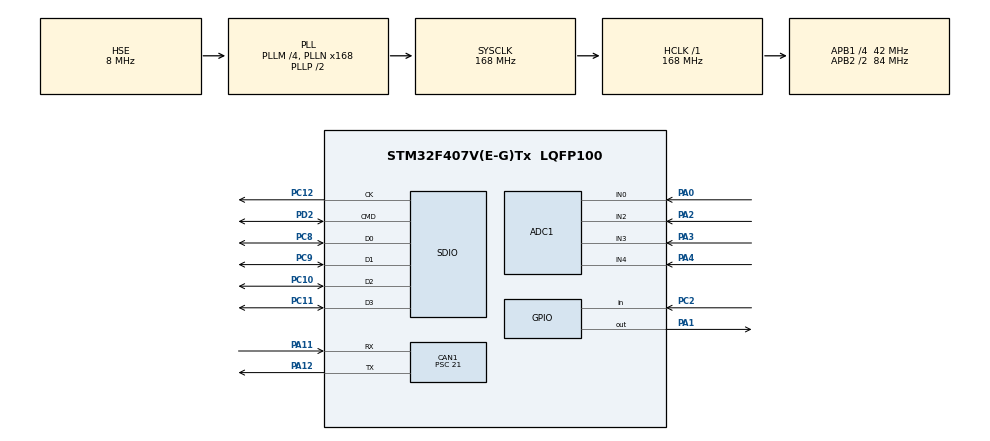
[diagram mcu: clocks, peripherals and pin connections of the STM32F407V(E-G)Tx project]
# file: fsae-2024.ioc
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ADC1.Channel-0\#ChannelRegularConversion=ADC_CHANNEL_0
ADC1.Channel-1\#ChannelRegularConversion=ADC_CHANNEL_2
ADC1.Channel-2\#ChannelRegularConversion=ADC_CHANNEL_3
ADC1.Channel-3\#ChannelRegularConversion=ADC_CHANNEL_4
ADC1.ContinuousConvMode=ENABLE
ADC1.DMAContinuousRequests=ENABLE
ADC1.NbrOfConversion=4
ADC1.NbrOfConversionFlag=1
ADC1.Rank-0\#ChannelRegularConversion=1
ADC1.Rank-1\#ChannelRegularConversion=2
ADC1.Rank-2\#ChannelRegularConversion=3
ADC1.Rank-3\#ChannelRegularConversion=4
ADC1.SamplingTime-0\#ChannelRegularConversion=ADC_SAMPLETIME_480CYCLES
ADC1.SamplingTime-1\#ChannelRegularConversion=ADC_SAMPLETIME_480CYCLES
ADC1.SamplingTime-2\#ChannelRegularConversion=ADC_SAMPLETIME_480CYCLES
ADC1.SamplingTime-3\#ChannelRegularConversion=ADC_SAMPLETIME_480CYCLES
ADC1.ScanConvMode=ENABLE
ADC1.master=1
CAN1.BS1=CAN_BS1_2TQ
CAN1.CalculateBaudRate=500000
CAN1.CalculateTimeBit=2000
CAN1.CalculateTimeQuantum=500.0
CAN1.Prescaler=21
Dma.ADC1.0.Direction=DMA_PERIPH_TO_MEMORY
Dma.ADC1.0.FIFOMode=DMA_FIFOMODE_DISABLE
Dma.ADC1.0.Instance=DMA2_Stream0
Dma.ADC1.0.MemDataAlignment=DMA_MDATAALIGN_HALFWORD
Dma.ADC1.0.MemInc=DMA_MINC_ENABLE
Dma.ADC1.0.Mode=DMA_CIRCULAR
Dma.ADC1.0.PeriphDataAlignment=DMA_PDATAALIGN_HALFWORD
Dma.ADC1.0.PeriphInc=DMA_PINC_DISABLE
Dma.ADC1.0.Priority=DMA_PRIORITY_LOW
Dma.Request0=ADC1
FATFS.BSP.number=1
FATFS0.BSP.STBoard=false
FATFS0.BSP.api=Unknown
FATFS0.BSP.instance=PC2
FATFS0.BSP.ip=GPIO
FATFS0.BSP.mode=Input
FATFS0.BSP.name=Detect_SDIO
FATFS0.BSP.solution=PC2
FREERTOS.Tasks01=defaultTask,24,128,StartDefaultTask,Default,NULL,Dynamic,NULL,NULL
FREERTOS.configENABLE_FPU=1
FREERTOS.configUSE_NEWLIB_REENTRANT=1
Mcu.Family=STM32F4
Mcu.Name=STM32F407V(E-G)Tx
Mcu.Package=LQFP100
NVIC.CAN1_RX0_IRQn=true\:5\:0\:false\:false\:true\:true\:true\:true\:true
NVIC.DMA2_Stream0_IRQn=true\:5\:0\:false\:false\:true\:true\:false\:true\:true
NVIC.PriorityGroup=NVIC_PRIORITYGROUP_4
NVIC.TIM1_UP_TIM10_IRQn=true\:15\:0\:false\:false\:true\:false\:false\:true\:true
NVIC.TimeBase=TIM1_UP_TIM10_IRQn
NVIC.TimeBaseIP=TIM1
PA0-WKUP.Signal=ADCx_IN0
PA1.PinState=GPIO_PIN_SET
PA1.Signal=GPIO_Output
PA11.Mode=CAN_Activate
PA11.Signal=CAN1_RX
PA12.Mode=CAN_Activate
PA12.Signal=CAN1_TX
PA13.Mode=Serial_Wire
PA13.Signal=SYS_JTMS-SWDIO
PA14.Mode=Serial_Wire
PA14.Signal=SYS_JTCK-SWCLK
PA2.Signal=ADCx_IN2
PA3.Signal=ADCx_IN3
PA4.Signal=ADCx_IN4
PC10.Mode=SD_4_bits_Wide_bus
PC10.Signal=SDIO_D2
PC11.Mode=SD_4_bits_Wide_bus
PC11.Signal=SDIO_D3
PC12.Mode=SD_4_bits_Wide_bus
PC12.Signal=SDIO_CK
PC14-OSC32_IN.Mode=LSE-External-Oscillator
PC14-OSC32_IN.Signal=RCC_OSC32_IN
PC15-OSC32_OUT.Mode=LSE-External-Oscillator
PC15-OSC32_OUT.Signal=RCC_OSC32_OUT
PC2.GPIO_PuPd=GPIO_PULLDOWN
PC2.Signal=GPIO_Input
PC8.Mode=SD_4_bits_Wide_bus
PC8.Signal=SDIO_D0
PC9.Mode=SD_4_bits_Wide_bus
PC9.Signal=SDIO_D1
PD2.Mode=SD_4_bits_Wide_bus
PD2.Signal=SDIO_CMD
PH0-OSC_IN.Mode=HSE-External-Oscillator
PH0-OSC_IN.Signal=RCC_OSC_IN
PH1-OSC_OUT.Mode=HSE-External-Oscillator
PH1-OSC_OUT.Signal=RCC_OSC_OUT
ProjectManager.HeapSize=0x2000
ProjectManager.StackSize=0x4000
ProjectManager.TargetToolchain=STM32CubeIDE
RCC.48MHZClocksFreq_Value=48000000
RCC.AHBFreq_Value=168000000
RCC.APB1CLKDivider=RCC_HCLK_DIV4
RCC.APB1Freq_Value=42000000
RCC.APB1TimFreq_Value=84000000
RCC.APB2CLKDivider=RCC_HCLK_DIV2
RCC.APB2Freq_Value=84000000
RCC.APB2TimFreq_Value=168000000
RCC.CortexFreq_Value=168000000
RCC.HCLKFreq_Value=168000000
RCC.HSE_VALUE=8000000
RCC.HSI_VALUE=16000000
RCC.PLLM=4
RCC.PLLN=168
RCC.PLLQ=7
RCC.PLLSourceVirtual=RCC_PLLSOURCE_HSE
RCC.SYSCLKFreq_VALUE=168000000
RCC.SYSCLKSource=RCC_SYSCLKSOURCE_PLLCLK
RCC.VCOOutputFreq_Value=336000000
SH.ADCx_IN0.0=ADC1_IN0,IN0
SH.ADCx_IN2.0=ADC1_IN2,IN2
SH.ADCx_IN3.0=ADC1_IN3,IN3
SH.ADCx_IN4.0=ADC1_IN4,IN4
VP_FATFS_VS_SDIO.Mode=SDIO
VP_FREERTOS_VS_CMSIS_V2.Mode=CMSIS_V2
VP_SYS_VS_tim1.Mode=TIM1
board=custom

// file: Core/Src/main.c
/* USER CODE BEGIN Header */
/**
  ******************************************************************************
  * @file           : main.c
  * @brief          : Main program body
  ******************************************************************************
  * @attention
  *
  * Copyright (c) 2023 STMicroelectronics.
  * All rights reserved.
  *
  * This software is licensed under terms that can be found in the LICENSE file
  * in the root directory of this software component.
  * If no LICENSE file comes with this software, it is provided AS-IS.
  *
  ******************************************************************************
  */
/* USER CODE END Header */
#include "main.h"
#include "cmsis_os.h"
#include "fatfs.h"

/* USER CODE BEGIN Includes */
#include "SEGGER_RTT.h"
/* USER CODE END Includes */

ADC_HandleTypeDef hadc1;
DMA_HandleTypeDef hdma_adc1;

CAN_HandleTypeDef hcan1;

SD_HandleTypeDef hsd;

/* Definitions for defaultTask */
osThreadId_t defaultTaskHandle;
const osThreadAttr_t defaultTask_attributes = {
  .name = "defaultTask",
  .stack_size = 128 * 4,
  .priority = (osPriority_t) osPriorityNormal,
};

void SystemClock_Config(void);
static void MX_GPIO_Init(void);
static void MX_DMA_Init(void);
static void MX_SDIO_SD_Init(void);
static void MX_ADC1_Init(void);
static void MX_CAN1_Init(void);
void StartDefaultTask(void *argument);

/* USER CODE BEGIN 0 */
uint16_t adc_buffer[4];
/* USER CODE END 0 */

int main(void)
{

  /* MCU Configuration--------------------------------------------------------*/

  /* Reset of all peripherals, Initializes the Flash interface and the Systick. */
  HAL_Init();

  /* Configure the system clock */
  SystemClock_Config();

  /* Initialize all configured peripherals */
  MX_GPIO_Init();
  MX_DMA_Init();
  MX_SDIO_SD_Init();
  MX_FATFS_Init();
  MX_ADC1_Init();
  MX_CAN1_Init();
  /* USER CODE BEGIN 2 */
  SEGGER_RTT_Init();

  CAN_FilterTypeDef can_filter;
  can_filter.FilterBank = 0;
  can_filter.FilterMode = CAN_FILTERMODE_IDMASK;
  can_filter.FilterScale = CAN_FILTERSCALE_16BIT;
  can_filter.FilterIdHigh = 0x0000;
  can_filter.FilterIdLow = 0x0000;
  can_filter.FilterMaskIdHigh = 0x0000;
  can_filter.FilterMaskIdLow = 0x0000;
  can_filter.FilterFIFOAssignment = CAN_RX_FIFO0;
  can_filter.FilterActivation = ENABLE;

  if (HAL_CAN_ConfigFilter(&hcan1, &can_filter) != HAL_OK) {
    SEGGER_RTT_printf(0, "CAN filter failed\r\n");
    Error_Handler();
  }

  HAL_CAN_Start(&hcan1);

  if( HAL_CAN_ActivateNotification(&hcan1, CAN_IT_RX_FIFO0_MSG_PENDING) != HAL_OK) {
    SEGGER_RTT_printf(0, "CAN notification failed\r\n");
    Error_Handler();
  }

  if (HAL_ADC_Start_DMA(&hadc1, (uint32_t*)adc_buffer, 4) != HAL_OK) {
    SEGGER_RTT_printf(0, "ADC start failed\r\n");
    Error_Handler();
  }

  /* USER CODE END 2 */

  /* Init scheduler */
  osKernelInitialize();

  /* Create the thread(s) */
  /* creation of defaultTask */
  defaultTaskHandle = osThreadNew(StartDefaultTask, NULL, &defaultTask_attributes);

  /* Start scheduler */
  osKernelStart();

  /* We should never get here as control is now taken by the scheduler */
  /* Infinite loop */
  while (1)
  {

  }
}

void SystemClock_Config(void)
{
  RCC_OscInitTypeDef RCC_OscInitStruct = {0};
  RCC_ClkInitTypeDef RCC_ClkInitStruct = {0};

  /** Configure the main internal regulator output voltage
  */
  __HAL_RCC_PWR_CLK_ENABLE();
  __HAL_PWR_VOLTAGESCALING_CONFIG(PWR_REGULATOR_VOLTAGE_SCALE1);

  /** Initializes the RCC Oscillators according to the specified parameters
  * in the RCC_OscInitTypeDef structure.
  */
  RCC_OscInitStruct.OscillatorType = RCC_OSCILLATORTYPE_HSE;
  RCC_OscInitStruct.HSEState = RCC_HSE_ON;
  RCC_OscInitStruct.PLL.PLLState = RCC_PLL_ON;
  RCC_OscInitStruct.PLL.PLLSource = RCC_PLLSOURCE_HSE;
  RCC_OscInitStruct.PLL.PLLM = 4;
  RCC_OscInitStruct.PLL.PLLN = 168;
  RCC_OscInitStruct.PLL.PLLP = RCC_PLLP_DIV2;
  RCC_OscInitStruct.PLL.PLLQ = 7;
  if (HAL_RCC_OscConfig(&RCC_OscInitStruct) != HAL_OK)
  {
    Error_Handler();
  }

  /** Initializes the CPU, AHB and APB buses clocks
  */
  RCC_ClkInitStruct.ClockType = RCC_CLOCKTYPE_HCLK|RCC_CLOCKTYPE_SYSCLK
                              |RCC_CLOCKTYPE_PCLK1|RCC_CLOCKTYPE_PCLK2;
  RCC_ClkInitStruct.SYSCLKSource = RCC_SYSCLKSOURCE_PLLCLK;
  RCC_ClkInitStruct.AHBCLKDivider = RCC_SYSCLK_DIV1;
  RCC_ClkInitStruct.APB1CLKDivider = RCC_HCLK_DIV4;
  RCC_ClkInitStruct.APB2CLKDivider = RCC_HCLK_DIV2;

  if (HAL_RCC_ClockConfig(&RCC_ClkInitStruct, FLASH_LATENCY_5) != HAL_OK)
  {
    Error_Handler();
  }
}

static void MX_ADC1_Init(void)
{

  ADC_ChannelConfTypeDef sConfig = {0};

  /** Configure the global features of the ADC (Clock, Resolution, Data Alignment and number of conversion)
  */
  hadc1.Instance = ADC1;
  hadc1.Init.ClockPrescaler = ADC_CLOCK_SYNC_PCLK_DIV4;
  hadc1.Init.Resolution = ADC_RESOLUTION_12B;
  hadc1.Init.ScanConvMode = ENABLE;
  hadc1.Init.ContinuousConvMode = ENABLE;
  hadc1.Init.DiscontinuousConvMode = DISABLE;
  hadc1.Init.ExternalTrigConvEdge = ADC_EXTERNALTRIGCONVEDGE_NONE;
  hadc1.Init.ExternalTrigConv = ADC_SOFTWARE_START;
  hadc1.Init.DataAlign = ADC_DATAALIGN_RIGHT;
  hadc1.Init.NbrOfConversion = 4;
  hadc1.Init.DMAContinuousRequests = ENABLE;
  hadc1.Init.EOCSelection = ADC_EOC_SINGLE_CONV;
  if (HAL_ADC_Init(&hadc1) != HAL_OK)
  {
    Error_Handler();
  }

  /** Configure for the selected ADC regular channel its corresponding rank in the sequencer and its sample time.
  */
  sConfig.Channel = ADC_CHANNEL_0;
  sConfig.Rank = 1;
  sConfig.SamplingTime = ADC_SAMPLETIME_480CYCLES;
  if (HAL_ADC_ConfigChannel(&hadc1, &sConfig) != HAL_OK)
  {
    Error_Handler();
  }

  /** Configure for the selected ADC regular channel its corresponding rank in the sequencer and its sample time.
  */
  sConfig.Channel = ADC_CHANNEL_2;
  sConfig.Rank = 2;
  if (HAL_ADC_ConfigChannel(&hadc1, &sConfig) != HAL_OK)
  {
    Error_Handler();
  }

  /** Configure for the selected ADC regular channel its corresponding rank in the sequencer and its sample time.
  */
  sConfig.Channel = ADC_CHANNEL_3;
  sConfig.Rank = 3;
  if (HAL_ADC_ConfigChannel(&hadc1, &sConfig) != HAL_OK)
  {
    Error_Handler();
  }

  /** Configure for the selected ADC regular channel its corresponding rank in the sequencer and its sample time.
  */
  sConfig.Channel = ADC_CHANNEL_4;
  sConfig.Rank = 4;
  if (HAL_ADC_ConfigChannel(&hadc1, &sConfig) != HAL_OK)
  {
    Error_Handler();
  }

}

static void MX_CAN1_Init(void)
{

  hcan1.Instance = CAN1;
  hcan1.Init.Prescaler = 21;
  hcan1.Init.Mode = CAN_MODE_NORMAL;
  hcan1.Init.SyncJumpWidth = CAN_SJW_1TQ;
  hcan1.Init.TimeSeg1 = CAN_BS1_2TQ;
  hcan1.Init.TimeSeg2 = CAN_BS2_1TQ;
  hcan1.Init.TimeTriggeredMode = DISABLE;
  hcan1.Init.AutoBusOff = DISABLE;
  hcan1.Init.AutoWakeUp = DISABLE;
  hcan1.Init.AutoRetransmission = DISABLE;
  hcan1.Init.ReceiveFifoLocked = DISABLE;
  hcan1.Init.TransmitFifoPriority = DISABLE;
  if (HAL_CAN_Init(&hcan1) != HAL_OK)
  {
    Error_Handler();
  }

}

static void MX_SDIO_SD_Init(void)
{

  hsd.Instance = SDIO;
  hsd.Init.ClockEdge = SDIO_CLOCK_EDGE_RISING;
  hsd.Init.ClockBypass = SDIO_CLOCK_BYPASS_DISABLE;
  hsd.Init.ClockPowerSave = SDIO_CLOCK_POWER_SAVE_DISABLE;
  hsd.Init.BusWide = SDIO_BUS_WIDE_4B;
  hsd.Init.HardwareFlowControl = SDIO_HARDWARE_FLOW_CONTROL_DISABLE;
  hsd.Init.ClockDiv = 0;

}

static void MX_DMA_Init(void)
{

  /* DMA controller clock enable */
  __HAL_RCC_DMA2_CLK_ENABLE();

  /* DMA interrupt init */
  /* DMA2_Stream0_IRQn interrupt configuration */
  HAL_NVIC_SetPriority(DMA2_Stream0_IRQn, 5, 0);
  HAL_NVIC_EnableIRQ(DMA2_Stream0_IRQn);

}

static void MX_GPIO_Init(void)
{
  GPIO_InitTypeDef GPIO_InitStruct = {0};

  /* GPIO Ports Clock Enable */
  __HAL_RCC_GPIOE_CLK_ENABLE();
  __HAL_RCC_GPIOC_CLK_ENABLE();
  __HAL_RCC_GPIOH_CLK_ENABLE();
  __HAL_RCC_GPIOA_CLK_ENABLE();
  __HAL_RCC_GPIOB_CLK_ENABLE();
  __HAL_RCC_GPIOD_CLK_ENABLE();

  /*Configure GPIO pin Output Level */
  HAL_GPIO_WritePin(GPIOA, GPIO_PIN_1, GPIO_PIN_SET);

  /*Configure GPIO pins : PE2 PE3 PE4 PE5
                           PE6 PE7 PE8 PE9
                           PE10 PE11 PE12 PE13
                           PE14 PE15 PE0 PE1 */
  GPIO_InitStruct.Pin = GPIO_PIN_2|GPIO_PIN_3|GPIO_PIN_4|GPIO_PIN_5
                          |GPIO_PIN_6|GPIO_PIN_7|GPIO_PIN_8|GPIO_PIN_9
                          |GPIO_PIN_10|GPIO_PIN_11|GPIO_PIN_12|GPIO_PIN_13
                          |GPIO_PIN_14|GPIO_PIN_15|GPIO_PIN_0|GPIO_PIN_1;
  GPIO_InitStruct.Mode = GPIO_MODE_ANALOG;
  GPIO_InitStruct.Pull = GPIO_NOPULL;
  HAL_GPIO_Init(GPIOE, &GPIO_InitStruct);

  /*Configure GPIO pins : PC13 PC0 PC1 PC3
                           PC4 PC5 PC6 PC7 */
  GPIO_InitStruct.Pin = GPIO_PIN_13|GPIO_PIN_0|GPIO_PIN_1|GPIO_PIN_3
                          |GPIO_PIN_4|GPIO_PIN_5|GPIO_PIN_6|GPIO_PIN_7;
  GPIO_InitStruct.Mode = GPIO_MODE_ANALOG;
  GPIO_InitStruct.Pull = GPIO_NOPULL;
  HAL_GPIO_Init(GPIOC, &GPIO_InitStruct);

  /*Configure GPIO pin : PC2 */
  GPIO_InitStruct.Pin = GPIO_PIN_2;
  GPIO_InitStruct.Mode = GPIO_MODE_INPUT;
  GPIO_InitStruct.Pull = GPIO_PULLDOWN;
  HAL_GPIO_Init(GPIOC, &GPIO_InitStruct);

  /*Configure GPIO pin : PA1 */
  GPIO_InitStruct.Pin = GPIO_PIN_1;
  GPIO_InitStruct.Mode = GPIO_MODE_OUTPUT_PP;
  GPIO_InitStruct.Pull = GPIO_NOPULL;
  GPIO_InitStruct.Speed = GPIO_SPEED_FREQ_LOW;
  HAL_GPIO_Init(GPIOA, &GPIO_InitStruct);

  /*Configure GPIO pins : PA5 PA6 PA7 PA8
                           PA9 PA10 PA15 */
  GPIO_InitStruct.Pin = GPIO_PIN_5|GPIO_PIN_6|GPIO_PIN_7|GPIO_PIN_8
                          |GPIO_PIN_9|GPIO_PIN_10|GPIO_PIN_15;
  GPIO_InitStruct.Mode = GPIO_MODE_ANALOG;
  GPIO_InitStruct.Pull = GPIO_NOPULL;
  HAL_GPIO_Init(GPIOA, &GPIO_InitStruct);

  /*Configure GPIO pins : PB0 PB1 PB2 PB10
                           PB11 PB12 PB13 PB14
                           PB15 PB3 PB4 PB5
                           PB6 PB7 PB8 PB9 */
  GPIO_InitStruct.Pin = GPIO_PIN_0|GPIO_PIN_1|GPIO_PIN_2|GPIO_PIN_10
                          |GPIO_PIN_11|GPIO_PIN_12|GPIO_PIN_13|GPIO_PIN_14
                          |GPIO_PIN_15|GPIO_PIN_3|GPIO_PIN_4|GPIO_PIN_5
                          |GPIO_PIN_6|GPIO_PIN_7|GPIO_PIN_8|GPIO_PIN_9;
  GPIO_InitStruct.Mode = GPIO_MODE_ANALOG;
  GPIO_InitStruct.Pull = GPIO_NOPULL;
  HAL_GPIO_Init(GPIOB, &GPIO_InitStruct);

  /*Configure GPIO pins : PD8 PD9 PD10 PD11
                           PD12 PD13 PD14 PD15
                           PD0 PD1 PD3 PD4
                           PD5 PD6 PD7 */
  GPIO_InitStruct.Pin = GPIO_PIN_8|GPIO_PIN_9|GPIO_PIN_10|GPIO_PIN_11
                          |GPIO_PIN_12|GPIO_PIN_13|GPIO_PIN_14|GPIO_PIN_15
                          |GPIO_PIN_0|GPIO_PIN_1|GPIO_PIN_3|GPIO_PIN_4
                          |GPIO_PIN_5|GPIO_PIN_6|GPIO_PIN_7;
  GPIO_InitStruct.Mode = GPIO_MODE_ANALOG;
  GPIO_InitStruct.Pull = GPIO_NOPULL;
  HAL_GPIO_Init(GPIOD, &GPIO_InitStruct);

}

/* USER CODE BEGIN 4 */
void HAL_CAN_RxFifo0MsgPendingCallback(CAN_HandleTypeDef *hcan) {
  CAN_RxHeaderTypeDef rx_header;
  uint8_t rx_data[128];

  HAL_CAN_GetRxMessage(hcan, CAN_RX_FIFO0, &rx_header, rx_data);
  SEGGER_RTT_printf(0, "CAN: 0x%x\r\n", rx_header.StdId);
  for (int i = 0; i < rx_header.DLC; i++)
    SEGGER_RTT_printf(0, "%02x ", rx_data[i]);
  SEGGER_RTT_printf(0, "\r\n");
}
/* USER CODE END 4 */

void StartDefaultTask(void *argument)
{
  /* USER CODE BEGIN 5 */
  /* Infinite loop */
  for(;;)
  {
    uint32_t tick = osKernelGetTickCount();
    // SEGGER_RTT_printf(0, "ADC: %d %d %d %d %d\r\n", tick, adc_buffer[0], adc_buffer[1], adc_buffer[2], adc_buffer[3]);
    osDelay(1000);
  }
  /* USER CODE END 5 */
}

void HAL_TIM_PeriodElapsedCallback(TIM_HandleTypeDef *htim)
{
  if (htim->Instance == TIM1) {
    HAL_IncTick();
  }
}

void Error_Handler(void)
{
  __disable_irq();
  while (1)
  {
  }
}
